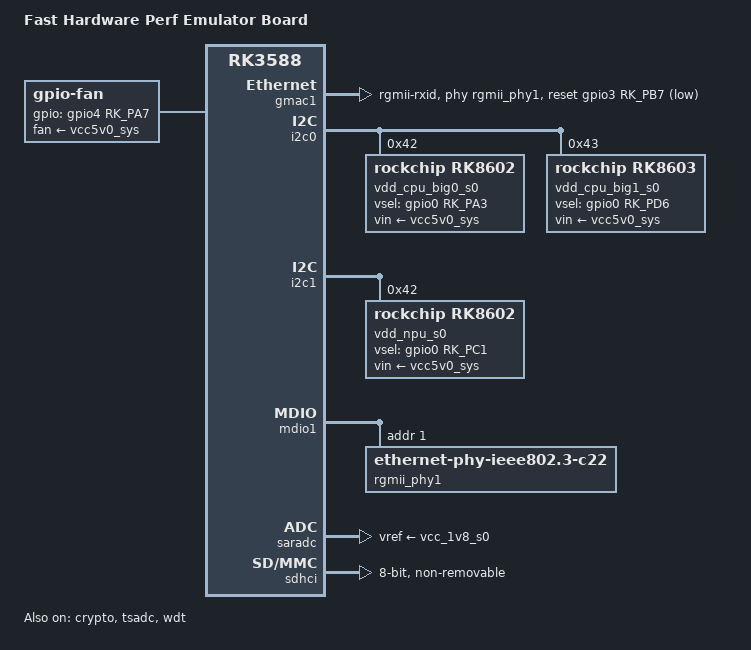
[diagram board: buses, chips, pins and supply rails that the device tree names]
// SPDX-License-Identifier: (GPL-2.0+ OR MIT)
/*
 * Copyright (c) 2026 Sergey Kharenko
 * Copyright (c) 2021 Rockchip Electronics Co., Ltd.
 */

/dts-v1/;

#include <dt-bindings/gpio/gpio.h>
#include <dt-bindings/pwm/pwm.h>
#include <dt-bindings/pinctrl/rockchip.h>
#include <dt-bindings/input/rk-input.h>
#include <dt-bindings/sensor-dev.h>
#include "rk3588.dtsi"
#include "rk3588-rk806-single.dtsi"
#include "rk3588-linux.dtsi"

/ {
    model = "Fast Hardware Perf Emulator Board";
    compatible = "fhpe, rk3588", "rockchip,rk3588";

    chosen: chosen {
		bootargs = "earlycon=uart8250,mmio32,0xfeb50000 console=ttyFIQ0 coherent_pool=1m irqchip.gicv3_pseudo_nmi=0";
	};
    
    fan: sys-fan {
		status = "okay";
		compatible = "gpio-fan";
		fan-supply = <&vcc5v0_sys>;
        gpio-fan,speed-map = <0 1>, <1 1>;
		gpios = <&gpio4 RK_PA7 GPIO_ACTIVE_HIGH>;
        pinctrl-names = "default";
		pinctrl-0 = <&sys_fan_pin>;
	};
};

&cpu_l0 {
	cpu-supply = <&vdd_cpu_lit_s0>;
	mem-supply = <&vdd_cpu_lit_mem_s0>;
};

&cpu_b0 {
	cpu-supply = <&vdd_cpu_big0_s0>;
	mem-supply = <&vdd_cpu_big0_mem_s0>;
};

&cpu_b2 {
	cpu-supply = <&vdd_cpu_big1_s0>;
	mem-supply = <&vdd_cpu_big1_mem_s0>;
};

&crypto {
	status = "okay";
};

&gmac1 {
	/* Use rgmii-rxid mode to disable rx delay inside Soc */
	phy-mode = "rgmii-rxid";
	clock_in_out = "input";

	snps,reset-gpio = <&gpio3 RK_PB7 GPIO_ACTIVE_LOW>;
	snps,reset-active-low;
	/* Reset time is 20ms, 100ms for rtl8211f */
	snps,reset-delays-us = <0 20000 100000>;

	pinctrl-names = "default";
	pinctrl-0 = <&gmac1_miim
		    &gmac1_tx_bus2
		    &gmac1_rx_bus2
		    &gmac1_rgmii_clk
		    &gmac1_rgmii_bus
            &gmac1_clkinout
            &eth1_pins>;

	tx_delay = <0x44>;
	/* rx_delay = <0x4f>; */

	phy-handle = <&rgmii_phy1>;
	status = "okay";
};

&i2c0 {
    status = "okay";
    pinctrl-names = "default";
    pinctrl-0 = <&i2c0m2_xfer>;

    vdd_cpu_big0_s0: vdd_cpu_big0_mem_s0: rk8602@42 {
        compatible = "rockchip,rk8602";
        reg = <0x42>;
        vin-supply = <&vcc5v0_sys>;
        vsel-gpios = <&gpio0 RK_PA3 GPIO_ACTIVE_HIGH>;
        regulator-compatible = "rk860x-reg";
        regulator-name = "vdd_cpu_big0_s0";
        regulator-min-microvolt = <550000>;
        regulator-max-microvolt = <1050000>;
        regulator-ramp-delay = <2300>;
        rockchip,suspend-voltage-selector = <1>;
        regulator-boot-on;
        regulator-always-on;
        regulator-state-mem {
            regulator-off-in-suspend;
        };
    };

    vdd_cpu_big1_s0: vdd_cpu_big1_mem_s0: rk8603@43 {
        compatible = "rockchip,rk8603";
        reg = <0x43>;
        vin-supply = <&vcc5v0_sys>;
        vsel-gpios = <&gpio0 RK_PD6 GPIO_ACTIVE_HIGH>;
        regulator-compatible = "rk860x-reg";
        regulator-name = "vdd_cpu_big1_s0";
        regulator-min-microvolt = <550000>;
        regulator-max-microvolt = <1050000>;
        regulator-ramp-delay = <2300>;
        rockchip,suspend-voltage-selector = <1>;
        regulator-boot-on;
        regulator-always-on;
        regulator-state-mem {
            regulator-off-in-suspend;
        };
    };
};

&i2c1 {
    status = "okay";
        pinctrl-names = "default";
        pinctrl-0 = <&i2c1m2_xfer>;

    vdd_npu_s0: vdd_npu_mem_s0: rk8602@42 {
        compatible = "rockchip,rk8602";
        reg = <0x42>;
        vin-supply = <&vcc5v0_sys>;
        vsel-gpios = <&gpio0 RK_PC1 GPIO_ACTIVE_HIGH>;
        regulator-compatible = "rk860x-reg";
        regulator-name = "vdd_npu_s0";
        regulator-min-microvolt = <550000>;
        regulator-max-microvolt = <950000>;
        regulator-ramp-delay = <2300>;
        rockchip,suspend-voltage-selector = <1>;
        regulator-boot-on;
        regulator-always-on;
        regulator-state-mem {
            regulator-off-in-suspend;
        };
    };
};

&mdio1 {
	rgmii_phy1: phy@1 {
		compatible = "ethernet-phy-ieee802.3-c22";
		reg = <0x1>;
        clocks = <&cru REFCLKO25M_ETH1_OUT>;
	};
};

&pinctrl {
    gpio-fan {
        sys_fan_pin: sys-fan-pin {
			rockchip,pins = <4 RK_PA7 RK_FUNC_GPIO &pcfg_pull_none>;
		};
    };
};

&saradc {
	status = "okay";
	vref-supply = <&vcc_1v8_s0>;
};

&sdhci {
    status = "okay";
    bus-width = <8>;
    no-sdio;
    no-sd;
    non-removable;
    max-frequency = <200000000>;
    mmc-hs400-1_8v;
    mmc-hs400-enhanced-strobe;
    full-pwr-cycle-in-suspend;
};

&tsadc {
	status = "okay";
};

&vdd_log_s0 {
	regulator-state-mem {
		regulator-on-in-suspend;
		regulator-suspend-microvolt = <750000>;
	};
};

&wdt {
	status = "okay";
};
